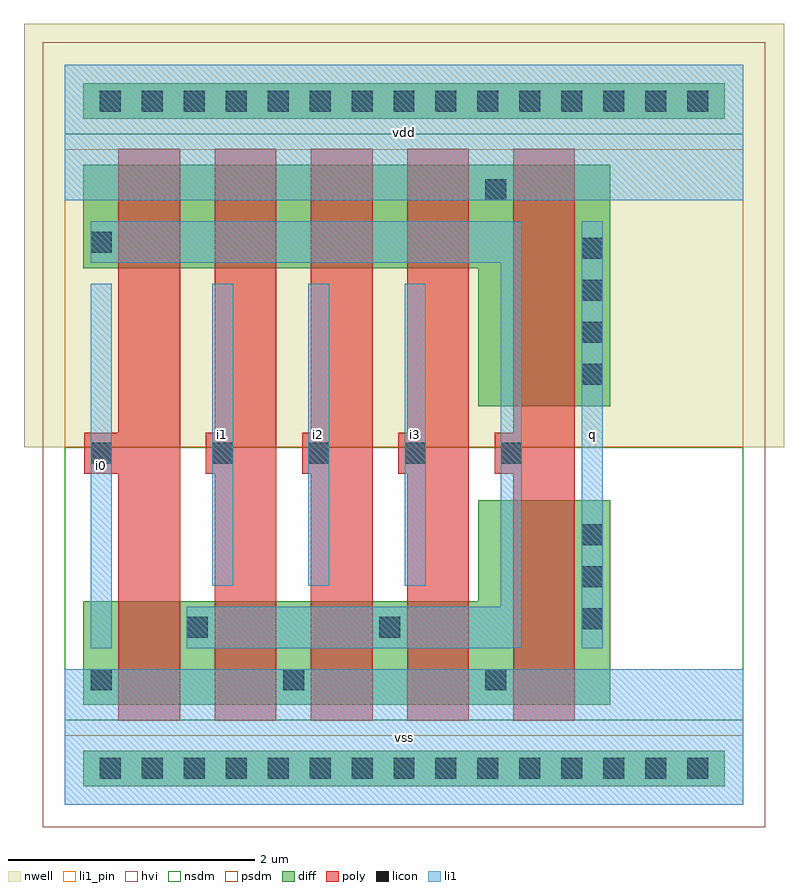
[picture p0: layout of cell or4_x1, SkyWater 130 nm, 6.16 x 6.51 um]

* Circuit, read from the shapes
.subckt or4_x1 i0 i1 i2 i3 q vdd vss
XM1 n1 i0 vss VSUBS sky130_fd_pr__nfet_g5v0d10v5 w=0.84 l=0.5
XM2 vss i1 n1 VSUBS sky130_fd_pr__nfet_g5v0d10v5 w=0.84 l=0.5
XM3 n1 i2 vss VSUBS sky130_fd_pr__nfet_g5v0d10v5 w=0.84 l=0.5
XM4 vss i3 n1 VSUBS sky130_fd_pr__nfet_g5v0d10v5 w=0.84 l=0.5
XM5 q n1 vss VSUBS sky130_fd_pr__nfet_g5v0d10v5 w=1.66 l=0.5
XM6 n2 i0 n1 n3 sky130_fd_pr__pfet_g5v0d10v5 w=0.84 l=0.5
XM7 n4 i1 n2 n3 sky130_fd_pr__pfet_g5v0d10v5 w=0.84 l=0.5
XM8 n5 i2 n4 n3 sky130_fd_pr__pfet_g5v0d10v5 w=0.84 l=0.5
XM9 vdd i3 n5 n3 sky130_fd_pr__pfet_g5v0d10v5 w=0.84 l=0.5
XM10 q n1 vdd n3 sky130_fd_pr__pfet_g5v0d10v5 w=1.96 l=0.5
.ends

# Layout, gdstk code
import gdstk
lib = gdstk.Library(unit=1e-6, precision=1e-09)
def R(c, l, rs):  # rectangles x0, y0, x1, y1
    for r in rs: c.add(gdstk.rectangle(r[:2], r[2:], *l))
def A(c, l, x, y, w, h, nx, ny, dx, dy):  # array of equal rectangles
    R(c, l, [(x+i*dx, y+j*dy, x+i*dx+w, y+j*dy+h) for i in range(nx) for j in range(ny)])
def P(c, l, *ps):  # polygons
    for p in ps: c.add(gdstk.Polygon(p, *l))
nwell = (64, 20)
diff = (65, 20)
poly = (66, 20)
licon = (66, 44)
li1_pin = (67, 16)
li1 = (67, 20)
hvi = (75, 20)
nsdm = (93, 44)
psdm = (94, 20)

or4_x1 = lib.new_cell('or4_x1')
R(or4_x1, nwell, [(-0.33,2.9,5.83,6.33)])
R(or4_x1, diff, [(0.15,0.15,5.35,0.44), (0.15,5.56,5.35,5.85)])
P(or4_x1, diff, [(0.15,0.81),(0.15,1.65),(3.35,1.65),(3.35,2.47),(4.42,2.47),(4.42,0.81)],
  [(3.35,3.23),(3.35,4.35),(0.15,4.35),(0.15,5.19),(4.42,5.19),(4.42,3.23)])
P(or4_x1, poly, [(3.635,0.68),(3.635,2.685),(3.485,2.685),(3.485,3.015),(3.635,3.015),(3.635,5.32),(4.135,5.32),(4.135,0.68)],
  [(0.435,0.68),(0.435,2.685),(0.16,2.685),(0.16,3.015),(0.435,3.015),(0.435,5.32),(0.935,5.32),(0.935,0.68)],
  [(1.215,0.68),(1.215,2.685),(1.145,2.685),(1.145,3.015),(1.215,3.015),(1.215,5.32),(1.715,5.32),(1.715,0.68)],
  [(1.995,0.68),(1.995,2.685),(1.925,2.685),(1.925,3.015),(1.995,3.015),(1.995,5.32),(2.495,5.32),(2.495,0.68)],
  [(2.775,0.68),(2.775,2.685),(2.705,2.685),(2.705,3.015),(2.775,3.015),(2.775,5.32),(3.275,5.32),(3.275,0.68)])
A(or4_x1, licon, 0.285, 0.21, 0.17, 0.17, 15, 2, 0.34, 5.41)
A(or4_x1, licon, 4.19, 1.425, 0.17, 0.17, 1, 3, 0, 0.34)
A(or4_x1, licon, 1.195, 2.765, 0.17, 0.17, 4, 1, 0.78, 0)
A(or4_x1, licon, 4.19, 3.405, 0.17, 0.17, 1, 4, 0, 0.34)
R(or4_x1, licon, [(0.21,0.93,0.38,1.1), (1.77,0.93,1.94,1.1), (3.41,0.93,3.58,1.1), (0.99,1.355,1.16,1.525), (2.55,1.355,2.72,1.525), (0.21,2.765,0.38,2.935), (0.21,4.475,0.38,4.645), (3.41,4.9,3.58,5.07)])
A(or4_x1, li1_pin, 1.195, 1.775, 0.17, 2.45, 3, 1, 0.78, 0)
R(or4_x1, li1_pin, [(0,0,5.5,1.1), (0.21,1.27,0.38,4.225), (4.19,1.27,4.36,4.73), (0,4.9,5.5,6)])
A(or4_x1, li1, 1.195, 1.775, 0.17, 2.45, 3, 1, 0.78, 0)
R(or4_x1, li1, [(0,0,5.5,1.1), (0.21,1.27,0.38,4.225), (4.19,1.27,4.36,4.73), (0,4.9,5.5,6)])
P(or4_x1, li1, [(0.99,1.27),(0.99,1.605),(3.535,1.605),(3.535,4.395),(0.21,4.395),(0.21,4.73),(3.62,4.73),(3.62,4.725),(3.705,4.725),(3.705,1.275),(3.62,1.275),(3.62,1.27)])
R(or4_x1, hvi, [(-0.18,-0.18,5.68,6.18)])
R(or4_x1, nsdm, [(0,0.685,5.5,2.9), (0,5.435,5.5,6)])
R(or4_x1, psdm, [(0,0,5.5,0.565), (0,2.9,5.5,5.315)])
or4_x1.add(gdstk.Label('vss', (2.75,0.55), layer=67, texttype=16))
or4_x1.add(gdstk.Label('vdd', (2.75,5.45), layer=67, texttype=16))
or4_x1.add(gdstk.Label('i0', (0.295,2.748), layer=67, texttype=16))
or4_x1.add(gdstk.Label('i1', (1.28,3), layer=67, texttype=16))
or4_x1.add(gdstk.Label('i2', (2.06,3), layer=67, texttype=16))
or4_x1.add(gdstk.Label('i3', (2.84,3), layer=67, texttype=16))
or4_x1.add(gdstk.Label('q', (4.275,3), layer=67, texttype=16))

lib.write_gds('or4_x1.gds')
